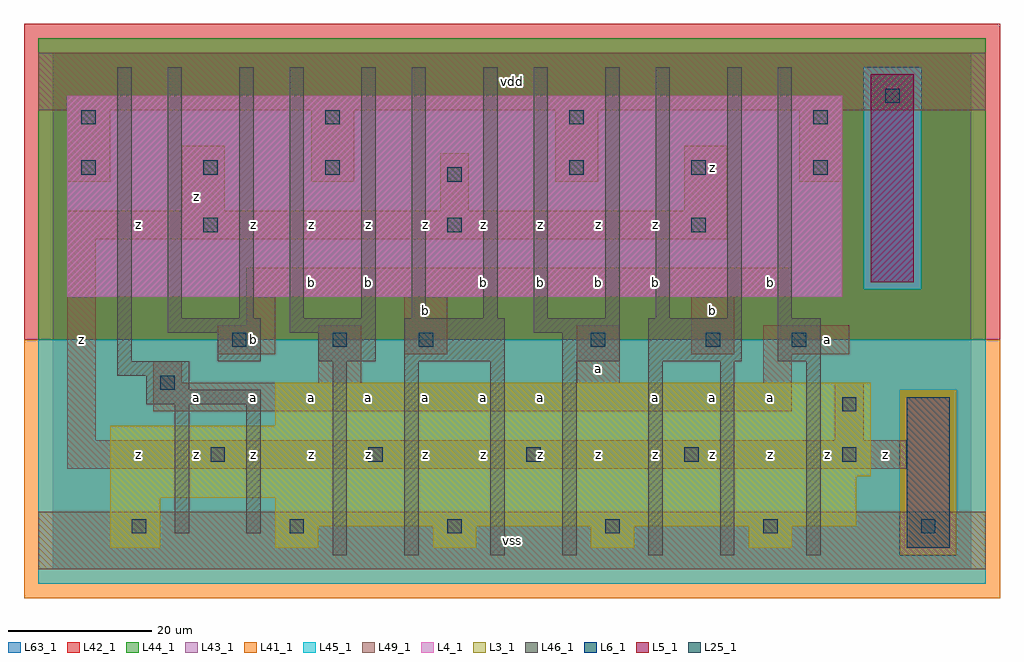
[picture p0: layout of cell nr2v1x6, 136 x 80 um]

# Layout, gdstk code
import gdstk
lib = gdstk.Library(unit=1e-6, precision=1e-09)
def R(c, l, rs):  # rectangles x0, y0, x1, y1
    for r in rs: c.add(gdstk.rectangle(r[:2], r[2:], *l))
def A(c, l, x, y, w, h, nx, ny, dx, dy):  # array of equal rectangles
    R(c, l, [(x+i*dx, y+j*dy, x+i*dx+w, y+j*dy+h) for i in range(nx) for j in range(ny)])
L3_1 = (3, 1)
L4_1 = (4, 1)
L5_1 = (5, 1)
L6_1 = (6, 1)
L25_1 = (25, 1)
L41_1 = (41, 1)
L42_1 = (42, 1)
L43_1 = (43, 1)
L44_1 = (44, 1)
L45_1 = (45, 1)
L46_1 = (46, 1)
L49_1 = (49, 1)
L63_1 = (63, 1)

nr2v1x6 = lib.new_cell('nr2v1x6')
A(nr2v1x6, L3_1, 31, 3, 6, 3, 4, 1, 22, 0)
R(nr2v1x6, L3_1, [(8,3,15,10), (31,6,112,10), (8,10,112,13), (8,13,114,20), (31,20,114,26)])
R(nr2v1x6, L4_1, [(2,38,110,66)])
R(nr2v1x6, L5_1, [(114,40,120,69)])
R(nr2v1x6, L6_1, [(119,3,125,24), (119,3,125,24)])
A(nr2v1x6, L25_1, 11, 5, 2, 2, 6, 1, 22, 0)
A(nr2v1x6, L25_1, 22, 15, 2, 2, 5, 1, 22, 0)
A(nr2v1x6, L25_1, 21, 47, 2, 2, 3, 1, 34, 0)
A(nr2v1x6, L25_1, 4, 55, 2, 2, 3, 1, 17, 0)
A(nr2v1x6, L25_1, 72, 55, 2, 2, 3, 1, 17, 0)
A(nr2v1x6, L25_1, 4, 62, 2, 2, 4, 1, 34, 0)
R(nr2v1x6, L25_1, [(110,22,112,24), (15,25,17,27), (25,31,27,33), (39,31,41,33), (51,31,53,33), (75,31,77,33), (91,31,93,33), (103,31,105,33), (55,54,57,56), (116,65,118,67)])
R(nr2v1x6, L41_1, [(-4,-4,132,32)])
R(nr2v1x6, L42_1, [(-4,32,132,76)])
A(nr2v1x6, L43_1, 31, 3, 6, 3, 4, 1, 22, 0)
R(nr2v1x6, L43_1, [(8,3,15,10), (119,3,125,24), (31,6,112,10), (8,10,112,13), (8,13,114,20), (31,20,114,26), (2,38,110,66), (114,40,120,69)])
R(nr2v1x6, L44_1, [(118,2,126,25), (-2,32,130,39), (-2,39,113,70), (121,39,130,70), (-2,70,130,74)])
R(nr2v1x6, L45_1, [(-2,-2,130,2), (-2,2,118,25), (126,2,130,25), (-2,25,130,32), (113,39,121,70)])
R(nr2v1x6, L46_1, [(39,2,41,29), (49,2,51,29), (61,2,63,29), (71,2,73,29), (83,2,85,29), (93,2,95,29), (105,2,107,29), (17,5,19,23), (27,5,29,23), (13,23,29,25), (13,25,19,27), (9,27,19,29), (9,29,11,70), (23,29,29,33), (37,29,45,33), (49,29,63,35), (71,29,79,33), (83,29,96,35), (101,29,107,35), (16,33,29,35), (33,33,45,35), (67,33,79,35), (16,35,18,70), (26,35,28,70), (33,35,35,70), (43,35,45,70), (50,35,52,70), (60,35,62,70), (67,35,69,70), (77,35,79,70), (84,35,86,70), (94,35,96,70), (101,35,103,70)])
A(nr2v1x6, L49_1, 2, 54, 6, 10, 4, 1, 34, 0)
R(nr2v1x6, L49_1, [(-2,0,130,8), (2,14,119,18), (2,18,6,46), (109,18,113,26), (14,22,103,26), (14,26,18,29), (37,26,43,34), (73,26,79,34), (99,26,103,30), (23,30,31,34), (49,30,55,38), (89,30,95,38), (99,30,111,34), (27,34,31,38), (27,38,103,42), (2,46,94,50), (18,50,24,59), (54,50,58,58), (88,50,94,59), (-2,64,130,72)])
R(nr2v1x6, L63_1, [(0,0,128,72)])
nr2v1x6.add(gdstk.Label('z', (20,16), layer=49, texttype=1))
nr2v1x6.add(gdstk.Label('z', (12,16), layer=49, texttype=1))
nr2v1x6.add(gdstk.Label('a', (20,24), layer=49, texttype=1))
nr2v1x6.add(gdstk.Label('z', (4,32), layer=49, texttype=1))
nr2v1x6.add(gdstk.Label('z', (20,52), layer=49, texttype=1))
nr2v1x6.add(gdstk.Label('z', (12,48), layer=49, texttype=1))
nr2v1x6.add(gdstk.Label('z', (44,16), layer=49, texttype=1))
nr2v1x6.add(gdstk.Label('z', (36,16), layer=49, texttype=1))
nr2v1x6.add(gdstk.Label('z', (28,16), layer=49, texttype=1))
nr2v1x6.add(gdstk.Label('a', (44,24), layer=49, texttype=1))
nr2v1x6.add(gdstk.Label('a', (36,24), layer=49, texttype=1))
nr2v1x6.add(gdstk.Label('a', (28,24), layer=49, texttype=1))
nr2v1x6.add(gdstk.Label('b', (28,32), layer=49, texttype=1))
nr2v1x6.add(gdstk.Label('b', (44,40), layer=49, texttype=1))
nr2v1x6.add(gdstk.Label('b', (36,40), layer=49, texttype=1))
nr2v1x6.add(gdstk.Label('z', (44,48), layer=49, texttype=1))
nr2v1x6.add(gdstk.Label('z', (36,48), layer=49, texttype=1))
nr2v1x6.add(gdstk.Label('z', (28,48), layer=49, texttype=1))
nr2v1x6.add(gdstk.Label('vss', (64,4), layer=49, texttype=1))
nr2v1x6.add(gdstk.Label('z', (68,16), layer=49, texttype=1))
nr2v1x6.add(gdstk.Label('z', (60,16), layer=49, texttype=1))
nr2v1x6.add(gdstk.Label('z', (52,16), layer=49, texttype=1))
nr2v1x6.add(gdstk.Label('a', (52,24), layer=49, texttype=1))
nr2v1x6.add(gdstk.Label('a', (68,24), layer=49, texttype=1))
nr2v1x6.add(gdstk.Label('a', (60,24), layer=49, texttype=1))
nr2v1x6.add(gdstk.Label('b', (52,36), layer=49, texttype=1))
nr2v1x6.add(gdstk.Label('b', (68,40), layer=49, texttype=1))
nr2v1x6.add(gdstk.Label('b', (60,40), layer=49, texttype=1))
nr2v1x6.add(gdstk.Label('z', (52,48), layer=49, texttype=1))
nr2v1x6.add(gdstk.Label('z', (68,48), layer=49, texttype=1))
nr2v1x6.add(gdstk.Label('z', (60,48), layer=49, texttype=1))
nr2v1x6.add(gdstk.Label('vdd', (64,68), layer=49, texttype=1))
nr2v1x6.add(gdstk.Label('z', (92,16), layer=49, texttype=1))
nr2v1x6.add(gdstk.Label('z', (84,16), layer=49, texttype=1))
nr2v1x6.add(gdstk.Label('z', (100,16), layer=49, texttype=1))
nr2v1x6.add(gdstk.Label('z', (76,16), layer=49, texttype=1))
nr2v1x6.add(gdstk.Label('a', (92,24), layer=49, texttype=1))
nr2v1x6.add(gdstk.Label('a', (84,24), layer=49, texttype=1))
nr2v1x6.add(gdstk.Label('a', (100,24), layer=49, texttype=1))
nr2v1x6.add(gdstk.Label('a', (76,28), layer=49, texttype=1))
nr2v1x6.add(gdstk.Label('b', (76,40), layer=49, texttype=1))
nr2v1x6.add(gdstk.Label('b', (84,40), layer=49, texttype=1))
nr2v1x6.add(gdstk.Label('b', (100,40), layer=49, texttype=1))
nr2v1x6.add(gdstk.Label('b', (92,36), layer=49, texttype=1))
nr2v1x6.add(gdstk.Label('z', (76,48), layer=49, texttype=1))
nr2v1x6.add(gdstk.Label('z', (84,48), layer=49, texttype=1))
nr2v1x6.add(gdstk.Label('z', (92,56), layer=49, texttype=1))
nr2v1x6.add(gdstk.Label('z', (116,16), layer=49, texttype=1))
nr2v1x6.add(gdstk.Label('z', (108,16), layer=49, texttype=1))
nr2v1x6.add(gdstk.Label('a', (108,32), layer=49, texttype=1))

lib.write_gds('nr2v1x6.gds')
